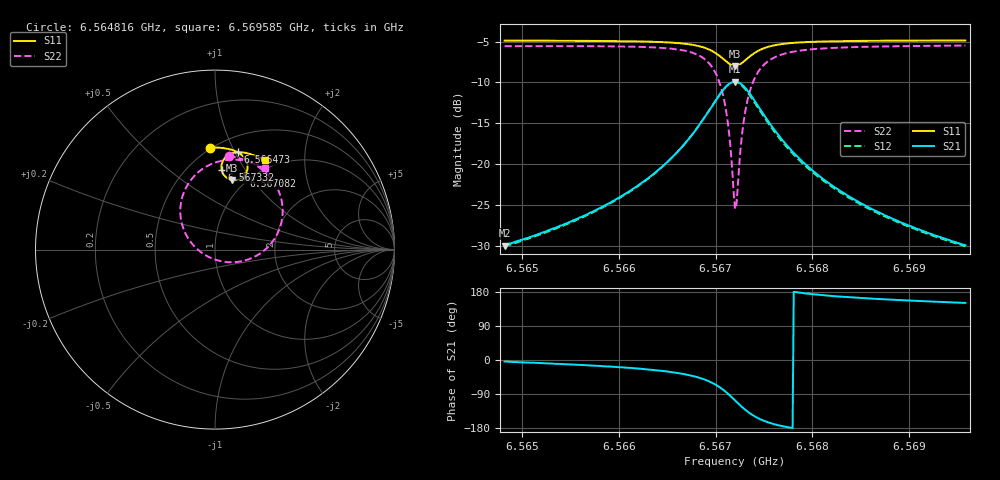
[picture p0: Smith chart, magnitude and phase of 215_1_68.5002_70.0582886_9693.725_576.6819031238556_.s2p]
#  HZ  S  RI  R  50.00
! Rohde & Schwarz Vector Network Analyzer
! Rohde-Schwarz,ZNB20-2Port,1311601062101988,3.16
! Created: UTC 3/20/2024, 5:13:18 PM
! freq[Hz]  re:S11  im:S11  re:S21  im:S21  re:S12  im:S12  re:S22  im:S22
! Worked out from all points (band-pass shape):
!   401 points, 6.564816 GHz to 6.569585 GHz, reference 50 ohm
!   highest |S21| = -9.90 dB at 6.567201 GHz (marker M1); lowest = -30.0 dB at 6.564816 GHz (marker M2)
!   |S21| within 3 dB of the highest: 6.566963 GHz to 6.56744 GHz (476.7 kHz wide, 0.00726 % of centre)
!   lowest |S11| = -8.0 dB at 6.567201 GHz (marker M3), VSWR 2.33, Z = 43.1 + j39.8 ohm
!   |S11| at or under -10 dB: nowhere
!   |S22| runs from -25.5 to -5.5 dB; largest |S21 - S12| = 0.016
!   S11 on the Smith chart (normalised r, x): 6.564816 GHz: 0.49, +0.83; 6.566473 GHz: 0.65, +1.03; 6.567082 GHz: 0.93, +0.94; 6.567332 GHz: 0.71, +0.79; 6.569585 GHz: 0.88, +1.30
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6.5648162e9  -0.027 0.5685  0.0317 -0.00231  0.0314 -0.00291  0.0754 0.5213
6.565615e9  0.0403 0.5661  0.0464 -0.0109  0.0456 -0.0116  0.1565 0.5028
6.5660681e9  0.0826 0.5587  0.062 -0.0226  0.0609 -0.0233  0.2159 0.4772
6.5664138e9  0.1197 0.5456  0.0821 -0.0431  0.081 -0.044  0.2765 0.435
6.5664734e9  0.1268 0.5421  0.0868 -0.049  0.0856 -0.0501  0.2891 0.4234
6.5667119e9  0.1574 0.5189  0.1088 -0.0884  0.107 -0.0901  0.3457 0.346
6.5668907e9  0.1785 0.4818  0.12 -0.1534  0.1169 -0.1568  0.3772 0.2208
6.566998e9  0.1796 0.4437  0.1036 -0.2201  0.0976 -0.2246  0.35 0.0935
6.5670815e9  0.1607 0.4084  0.0536 -0.2805  0.0429 -0.2838  0.2565 -0.0183
6.5671292e9  0.1377 0.3924  0.00342 -0.3057  -0.0102 -0.3063  0.1626 -0.0616
6.5671888e9  0.0999 0.3866  -0.0751 -0.3104  -0.0898 -0.3047  0.0201 -0.0615
6.5672007e9  0.0921 0.3879  -0.0911 -0.3065  -0.1055 -0.2996  -0.00805 -0.0527
6.5672246e9  0.0769 0.3931  -0.1215 -0.2942  -0.1346 -0.2848  -0.0605 -0.0267
6.5672723e9  0.0526 0.4121  -0.1706 -0.2549  -0.1797 -0.242  -0.1412 0.0499
6.5673319e9  0.0374 0.4429  -0.2035 -0.1937  -0.2069 -0.1801  -0.1884 0.1617
6.5674273e9  0.0405 0.4865  -0.2051 -0.1096  -0.2032 -0.0991  -0.1772 0.3086
6.5675703e9  0.0681 0.5224  -0.1693 -0.04  -0.1655 -0.0342  -0.1001 0.4252
6.5677373e9  0.1001 0.5379  -0.1301 -0.00713  -0.1268 -0.00397  -0.0187 0.4775
6.5679996e9  0.1391 0.5422  -0.0911 0.00994  -0.089 0.0115  0.0676 0.4996
6.5683572e9  0.1791 0.5368  -0.0628 0.0157  -0.0613 0.0162  0.1406 0.4985
6.5687984e9  0.2191 0.525  -0.0444 0.0165  -0.0432 0.0169  0.2008 0.4855
6.5695853e9  0.2797 0.4975  -0.0278 0.0156  -0.0272 0.0158  0.2766 0.4536
